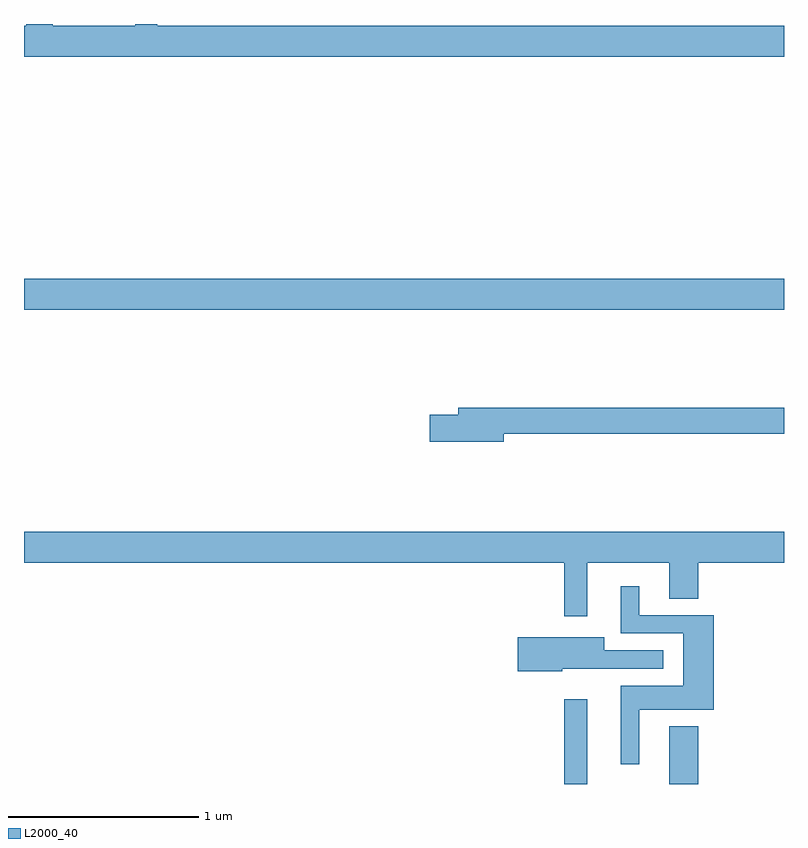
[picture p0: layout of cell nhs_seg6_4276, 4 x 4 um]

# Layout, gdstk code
import gdstk
lib = gdstk.Library(unit=1e-6, precision=1e-09)
def R(c, l, rs):  # rectangles x0, y0, x1, y1
    for r in rs: c.add(gdstk.rectangle(r[:2], r[2:], *l))
def P(c, l, *ps):  # polygons
    for p in ps: c.add(gdstk.Polygon(p, *l))
L2000_40 = (2000, 40)

nhs_seg6_4276 = lib.new_cell('nhs_seg6_4276')
R(nhs_seg6_4276, L2000_40, [(365.844,951.5,365.965,951.946), (366.395,951.5,366.548,951.805), (363,953.996,367,954.16)])
P(nhs_seg6_4276, L2000_40, [(367,955.492),(363.701,955.492),(363.701,955.5),(363.585,955.5),(363.585,955.492),(363.151,955.492),(363.151,955.5),(363.011,955.5),(363.011,955.492),(363,955.492),(363,955.328),(367,955.328)],
  [(365.524,953.344),(367,953.344),(367,953.48),(365.285,953.48),(365.285,953.444),(365.136,953.444),(365.136,953.302),(365.524,953.302)],
  [(365.965,952.664),(366.395,952.664),(366.395,952.474),(366.548,952.474),(366.548,952.664),(367,952.664),(367,952.828),(363,952.828),(363,952.664),(365.844,952.664),(365.844,952.383),(365.965,952.383)],
  [(366.238,951.89),(366.629,951.89),(366.629,952.389),(366.238,952.389),(366.238,952.54),(366.14,952.54),(366.14,952.293),(366.47,952.293),(366.47,952.018),(366.14,952.018),(366.14,951.603),(366.238,951.603)],
  [(365.832,952.106),(366.051,952.106),(366.051,952.107),(366.364,952.107),(366.364,952.203),(366.055,952.203),(366.055,952.272),(365.598,952.272),(365.598,952.094),(365.832,952.094)])

lib.write_gds('nhs_seg6_4276.gds')
